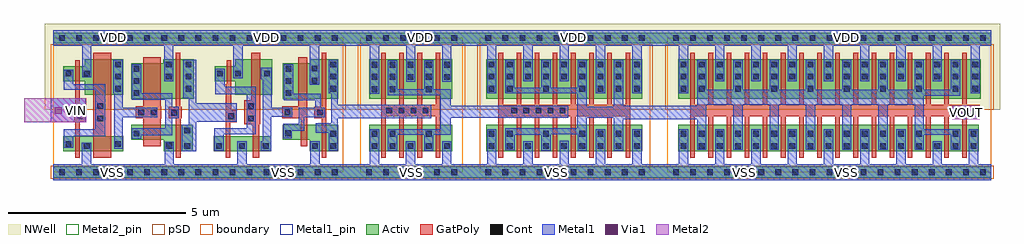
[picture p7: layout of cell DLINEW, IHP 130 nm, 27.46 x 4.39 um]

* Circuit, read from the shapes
.subckt DLINEW VDD VIN VOUT VSS
XM1 VSS VIN n1 VSS sg13_lv_nmos w=0.42u l=0.13u
XM2 n2 n1 VSS VSS sg13_lv_nmos w=0.42u l=0.5u
XM3 VSS n2 n3 VSS sg13_lv_nmos w=0.42u l=0.5u
XM4 n4 n3 VSS VSS sg13_lv_nmos w=0.74u l=0.13u
XM5 VSS n4 n5 VSS sg13_lv_nmos w=0.42u l=0.13u
XM6 n6 n5 VSS VSS sg13_lv_nmos w=0.42u l=0.18u
XM7 VSS n6 n7 VSS sg13_lv_nmos w=0.42u l=0.18u
XM8 n8 n7 VSS VSS sg13_lv_nmos w=0.74u l=0.13u
XM9 n9 n8 VSS VSS sg13_lv_nmos w=0.74u l=0.13u m=4
XM10 n10 n9 VSS VSS sg13_lv_nmos w=0.74u l=0.13u m=8
XM11 n10 VOUT VSS VSS sg13_lv_nmos w=0.74u l=0.13u m=16
XM12 VDD VIN n1 VDD sg13_lv_pmos w=0.42u l=0.13u
XM13 n2 n1 VDD VDD sg13_lv_pmos w=1u l=0.5u
XM14 VDD n2 n3 VDD sg13_lv_pmos w=1u l=0.5u
XM15 n4 n3 VDD VDD sg13_lv_pmos w=1.12u l=0.13u
XM16 VDD n4 n5 VDD sg13_lv_pmos w=0.42u l=0.13u
XM17 n6 n5 VDD VDD sg13_lv_pmos w=1u l=0.25u
XM18 VDD n6 n7 VDD sg13_lv_pmos w=1u l=0.25u
XM19 n8 n7 VDD VDD sg13_lv_pmos w=1.12u l=0.13u
XM20 n9 n8 VDD VDD sg13_lv_pmos w=1.12u l=0.13u m=4
XM21 n10 n9 VDD VDD sg13_lv_pmos w=1.12u l=0.13u m=8
XM22 n10 VOUT VDD VDD sg13_lv_pmos w=1.12u l=0.13u m=16
.ends

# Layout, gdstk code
import gdstk
lib = gdstk.Library(unit=1e-6, precision=1e-09)
def R(c, l, rs):  # rectangles x0, y0, x1, y1
    for r in rs: c.add(gdstk.rectangle(r[:2], r[2:], *l))
def A(c, l, x, y, w, h, nx, ny, dx, dy):  # array of equal rectangles
    R(c, l, [(x+i*dx, y+j*dy, x+i*dx+w, y+j*dy+h) for i in range(nx) for j in range(ny)])
def P(c, l, *ps):  # polygons
    for p in ps: c.add(gdstk.Polygon(p, *l))
Activ = (1, 0)
GatPoly = (5, 0)
Cont = (6, 0)
Metal1 = (8, 0)
Metal1_pin = (8, 2)
Metal2 = (10, 0)
Metal2_pin = (10, 2)
pSD = (14, 0)
Via1 = (19, 0)
NWell = (31, 0)
boundary = (189, 4)

dlinew = lib.new_cell('DLINEW')
R(dlinew, Activ, [(0.825,0.07,5.145,0.37), (4.665,0.07,5.145,0.37), (5.145,0.07,8.985,0.37), (8.985,0.07,9.465,0.37), (9.465,0.07,12.345,0.37), (12.345,0.07,12.825,0.37), (12.825,0.07,17.625,0.37), (17.625,0.07,18.105,0.37), (18.105,0.07,27.225,0.37), (1.105,0.81,2.795,1.23), (5.335,0.81,6.955,1.23), (9.71,0.81,12.05,1.55), (13.01,0.81,17.4,1.55), (18.41,0.81,26.87,1.55), (9.71,2.28,12.05,3.4), (13.01,2.28,17.4,3.4), (18.41,2.28,26.92,3.4), (0.825,3.85,5.145,4.15), (4.665,3.85,5.145,4.15), (5.145,3.85,8.985,4.15), (8.985,3.85,9.465,4.15), (9.465,3.85,12.345,4.15), (12.345,3.85,12.825,4.15), (12.825,3.85,17.625,4.15), (17.625,3.85,18.105,4.15), (18.105,3.85,27.225,4.15)])
P(dlinew, Activ, [(3.015,2.28),(3.015,3.28),(3.925,3.28),(3.925,3.4),(4.775,3.4),(4.775,2.28)],
  [(3.935,0.81),(3.935,1.13),(3.015,1.13),(3.015,1.55),(4.745,1.55),(4.745,0.81)],
  [(1.705,2.4),(1.705,2.775),(1.105,2.775),(1.105,3.195),(1.705,3.195),(1.705,3.4),(2.795,3.4),(2.795,2.4)],
  [(8.04,0.81),(8.04,1.13),(7.275,1.13),(7.275,1.55),(8.85,1.55),(8.85,0.81)],
  [(7.275,2.28),(7.275,3.28),(8.055,3.28),(8.055,3.4),(8.85,3.4),(8.85,2.28)],
  [(5.945,2.4),(5.945,2.775),(5.365,2.775),(5.365,3.195),(5.945,3.195),(5.945,3.4),(6.985,3.4),(6.985,2.4)])
R(dlinew, GatPoly, [(1.955,0.63,2.455,3.58), (26.53,1.79,26.89,2.12)])
P(dlinew, GatPoly, [(13.35,0.63),(13.35,3.58),(13.48,3.58),(13.48,2.12),(13.86,2.12),(13.86,3.58),(13.99,3.58),(13.99,2.12),(14.37,2.12),(14.37,3.58),(14.5,3.58),(14.5,2.12),(14.88,2.12),(14.88,3.58),(15.01,3.58),(15.01,2.12),(15.39,2.12),(15.39,3.58),(15.52,3.58),(15.52,2.12),(15.9,2.12),(15.9,3.58),(16.03,3.58),(16.03,2.12),(16.41,2.12),(16.41,3.58),(16.54,3.58),(16.54,2.12),(16.93,2.12),(16.93,3.58),(17.06,3.58),(17.06,0.63),(16.93,0.63),(16.93,1.79),(16.54,1.79),(16.54,0.63),(16.41,0.63),(16.41,1.79),(16.03,1.79),(16.03,0.63),(15.9,0.63),(15.9,1.79),(15.52,1.79),(15.52,0.63),(15.39,0.63),(15.39,1.79),(15.01,1.79),(15.01,0.63),(14.88,0.63),(14.88,1.79),(14.5,1.79),(14.5,0.63),(14.37,0.63),(14.37,1.79),(13.99,1.79),(13.99,0.63),(13.86,0.63),(13.86,1.79),(13.48,1.79),(13.48,0.63)],
  [(1.445,0.63),(1.445,1.63),(1.415,1.63),(1.415,1.96),(1.445,1.96),(1.445,3.375),(1.575,3.375),(1.575,1.96),(1.745,1.96),(1.745,1.63),(1.575,1.63),(1.575,0.63)],
  [(4.275,0.63),(4.275,1.735),(4.07,1.735),(4.07,2.065),(4.265,2.065),(4.265,3.58),(4.395,3.58),(4.395,2.065),(4.435,2.065),(4.435,1.735),(4.405,1.735),(4.405,0.63)],
  [(3.355,0.95),(3.355,1.74),(3.14,1.74),(3.14,2.07),(3.355,2.07),(3.355,3.46),(3.855,3.46),(3.855,2.07),(3.86,2.07),(3.86,1.74),(3.855,1.74),(3.855,0.95)],
  [(18.75,0.63),(18.75,3.58),(18.88,3.58),(18.88,2.12),(19.26,2.12),(19.26,3.58),(19.39,3.58),(19.39,2.12),(19.77,2.12),(19.77,3.58),(19.9,3.58),(19.9,2.12),(20.28,2.12),(20.28,3.58),(20.41,3.58),(20.41,2.12),(20.79,2.12),(20.79,3.58),(20.92,3.58),(20.92,2.12),(21.3,2.12),(21.3,3.58),(21.43,3.58),(21.43,2.12),(21.81,2.12),(21.81,3.58),(21.94,3.58),(21.94,2.12),(22.32,2.12),(22.32,3.58),(22.45,3.58),(22.45,2.12),(22.83,2.12),(22.83,3.58),(22.96,3.58),(22.96,2.12),(23.34,2.12),(23.34,3.58),(23.47,3.58),(23.47,2.12),(23.85,2.12),(23.85,3.58),(23.98,3.58),(23.98,2.12),(24.36,2.12),(24.36,3.58),(24.49,3.58),(24.49,2.12),(24.87,2.12),(24.87,3.58),(25,3.58),(25,2.12),(25.38,2.12),(25.38,3.58),(25.51,3.58),(25.51,2.12),(25.89,2.12),(25.89,3.58),(26.02,3.58),(26.02,2.12),(26.4,2.12),(26.4,3.58),(26.53,3.58),(26.53,0.63),(26.4,0.63),(26.4,1.79),(26.02,1.79),(26.02,0.63),(25.89,0.63),(25.89,1.79),(25.51,1.79),(25.51,0.63),(25.38,0.63),(25.38,1.79),(25,1.79),(25,0.63),(24.87,0.63),(24.87,1.79),(24.49,1.79),(24.49,0.63),(24.36,0.63),(24.36,1.79),(23.98,1.79),(23.98,0.63),(23.85,0.63),(23.85,1.79),(23.47,1.79),(23.47,0.63),(23.34,0.63),(23.34,1.79),(22.96,1.79),(22.96,0.63),(22.83,0.63),(22.83,1.79),(22.45,1.79),(22.45,0.63),(22.32,0.63),(22.32,1.79),(21.94,1.79),(21.94,0.63),(21.81,0.63),(21.81,1.79),(21.43,1.79),(21.43,0.63),(21.3,0.63),(21.3,1.79),(20.92,1.79),(20.92,0.63),(20.79,0.63),(20.79,1.79),(20.41,1.79),(20.41,0.63),(20.28,0.63),(20.28,1.79),(19.9,1.79),(19.9,0.63),(19.77,0.63),(19.77,1.79),(19.39,1.79),(19.39,0.63),(19.26,0.63),(19.26,1.79),(18.88,1.79),(18.88,0.63)],
  [(7.79,0.95),(7.79,1.74),(7.265,1.74),(7.265,2.07),(7.72,2.07),(7.72,3.46),(7.97,3.46),(7.97,0.95)],
  [(5.675,0.63),(5.675,2.7),(5.705,2.7),(5.705,3.375),(5.835,3.375),(5.835,1.96),(5.985,1.96),(5.985,1.63),(5.805,1.63),(5.805,0.63)],
  [(6.435,0.63),(6.435,1.57),(6.195,1.57),(6.195,2.24),(6.395,2.24),(6.395,3.58),(6.645,3.58),(6.645,1.57),(6.615,1.57),(6.615,0.63)],
  [(8.38,0.63),(8.38,1.735),(8.165,1.735),(8.165,2.065),(8.38,2.065),(8.38,3.58),(8.51,3.58),(8.51,0.63)],
  [(10.05,0.63),(10.05,3.58),(10.18,3.58),(10.18,2.12),(10.56,2.12),(10.56,3.58),(10.69,3.58),(10.69,2.12),(11.07,2.12),(11.07,3.58),(11.2,3.58),(11.2,2.12),(11.58,2.12),(11.58,3.58),(11.71,3.58),(11.71,0.63),(11.58,0.63),(11.58,1.79),(11.2,1.79),(11.2,0.63),(11.07,0.63),(11.07,1.79),(10.69,1.79),(10.69,0.63),(10.56,0.63),(10.56,1.79),(10.18,1.79),(10.18,0.63)])
A(dlinew, Cont, 4.825, 0.14, 0.16, 0.16, 9, 2, 0.48, 3.78)
A(dlinew, Cont, 9.78, 0.88, 0.16, 0.16, 5, 2, 0.51, 2.285)
A(dlinew, Cont, 13.08, 0.88, 0.16, 0.16, 8, 2, 0.51, 1.95)
A(dlinew, Cont, 18.48, 0.88, 0.16, 0.16, 17, 1, 0.51, 0)
A(dlinew, Cont, 13.59, 1.22, 0.16, 0.16, 3, 2, 1.02, 1.27)
A(dlinew, Cont, 18.48, 1.22, 0.16, 0.16, 14, 1, 0.51, 0)
A(dlinew, Cont, 10.2, 1.875, 0.16, 0.16, 4, 1, 0.34, 0)
A(dlinew, Cont, 13.715, 1.875, 0.16, 0.16, 5, 1, 0.34, 0)
A(dlinew, Cont, 3.085, 2.37, 0.16, 0.16, 1, 3, 0, 0.34)
A(dlinew, Cont, 7.36, 2.37, 0.16, 0.16, 1, 3, 0, 0.34)
A(dlinew, Cont, 2.565, 2.49, 0.16, 0.16, 1, 3, 0, 0.34)
A(dlinew, Cont, 4.545, 2.49, 0.16, 0.16, 1, 3, 0, 0.34)
A(dlinew, Cont, 8.62, 2.49, 0.16, 0.16, 1, 3, 0, 0.34)
A(dlinew, Cont, 17.17, 2.49, 0.16, 0.16, 1, 3, 0, 0.34)
A(dlinew, Cont, 18.99, 2.49, 0.16, 0.16, 8, 1, 1.02, 0)
A(dlinew, Cont, 26.69, 2.49, 0.16, 0.16, 1, 3, 0, 0.34)
A(dlinew, Cont, 18.48, 2.83, 0.16, 0.16, 16, 2, 0.51, 0.34)
A(dlinew, Cont, 13.08, 3.17, 0.16, 0.16, 8, 1, 0.51, 0)
R(dlinew, Cont, [(0.985,0.14,1.145,0.3), (0.985,0.14,1.145,0.3), (1.465,0.14,1.625,0.3), (1.465,0.14,1.625,0.3), (1.945,0.14,2.105,0.3), (1.945,0.14,2.105,0.3), (2.425,0.14,2.585,0.3), (2.425,0.14,2.585,0.3), (2.905,0.14,3.065,0.3), (2.905,0.14,3.065,0.3), (3.385,0.14,3.545,0.3), (3.385,0.14,3.545,0.3), (3.865,0.14,4.025,0.3), (3.865,0.14,4.025,0.3), (4.345,0.14,4.505,0.3), (4.345,0.14,4.505,0.3), (4.825,0.14,4.985,0.3), (9.625,0.14,9.785,0.3), (9.625,0.14,9.785,0.3), (10.105,0.14,10.265,0.3), (10.105,0.14,10.265,0.3), (10.585,0.14,10.745,0.3), (10.585,0.14,10.745,0.3), (11.065,0.14,11.225,0.3), (11.065,0.14,11.225,0.3), (11.545,0.14,11.705,0.3), (11.545,0.14,11.705,0.3), (12.025,0.14,12.185,0.3), (12.025,0.14,12.185,0.3), (12.985,0.14,13.145,0.3), (12.985,0.14,13.145,0.3), (13.465,0.14,13.625,0.3), (13.465,0.14,13.625,0.3), (13.945,0.14,14.105,0.3), (13.945,0.14,14.105,0.3), (14.425,0.14,14.585,0.3), (14.425,0.14,14.585,0.3), (14.905,0.14,15.065,0.3), (14.905,0.14,15.065,0.3), (15.385,0.14,15.545,0.3), (15.385,0.14,15.545,0.3), (15.865,0.14,16.025,0.3), (15.865,0.14,16.025,0.3), (16.345,0.14,16.505,0.3), (16.345,0.14,16.505,0.3), (16.825,0.14,16.985,0.3), (16.825,0.14,16.985,0.3), (17.305,0.14,17.465,0.3), (17.305,0.14,17.465,0.3), (18.265,0.14,18.425,0.3), (18.265,0.14,18.425,0.3), (18.745,0.14,18.905,0.3), (18.745,0.14,18.905,0.3), (19.225,0.14,19.385,0.3), (19.225,0.14,19.385,0.3), (19.705,0.14,19.865,0.3), (19.705,0.14,19.865,0.3), (20.185,0.14,20.345,0.3), (20.185,0.14,20.345,0.3), (20.665,0.14,20.825,0.3), (20.665,0.14,20.825,0.3), (21.145,0.14,21.305,0.3), (21.145,0.14,21.305,0.3), (21.625,0.14,21.785,0.3), (21.625,0.14,21.785,0.3), (22.105,0.14,22.265,0.3), (22.105,0.14,22.265,0.3), (22.585,0.14,22.745,0.3), (22.585,0.14,22.745,0.3), (23.065,0.14,23.225,0.3), (23.065,0.14,23.225,0.3), (23.545,0.14,23.705,0.3), (23.545,0.14,23.705,0.3), (24.025,0.14,24.185,0.3), (24.025,0.14,24.185,0.3), (24.505,0.14,24.665,0.3), (24.505,0.14,24.665,0.3), (24.985,0.14,25.145,0.3), (24.985,0.14,25.145,0.3), (25.465,0.14,25.625,0.3), (25.465,0.14,25.625,0.3), (25.945,0.14,26.105,0.3), (25.945,0.14,26.105,0.3), (26.425,0.14,26.585,0.3), (26.425,0.14,26.585,0.3), (26.905,0.14,27.065,0.3), (26.905,0.14,27.065,0.3), (1.685,0.88,1.845,1.04), (4.515,0.88,4.675,1.04), (5.405,0.88,5.565,1.04), (6.055,0.88,6.215,1.04), (6.725,0.88,6.885,1.04), (8.11,0.88,8.27,1.04), (8.62,0.88,8.78,1.04), (17.17,0.88,17.33,1.04), (4.005,0.885,4.165,1.045), (1.175,0.935,1.335,1.095), (2.565,0.935,2.725,1.095), (8.62,1.22,8.78,1.38), (9.78,1.22,9.94,1.38), (10.29,1.22,10.45,1.38), (11.31,1.22,11.47,1.38), (13.08,1.22,13.24,1.38), (16.14,1.22,16.3,1.38), (16.65,1.22,16.81,1.38), (17.17,1.22,17.33,1.38), (26.13,1.22,26.29,1.38), (26.64,1.22,26.8,1.38), (3.085,1.23,3.245,1.39), (7.345,1.235,7.505,1.395), (4.515,1.31,4.675,1.47), (2.065,1.65,2.225,1.81), (6.31,1.655,6.47,1.815), (1.495,1.71,1.655,1.87), (5.75,1.715,5.91,1.875), (4.15,1.815,4.31,1.975), (3.22,1.82,3.38,1.98), (3.56,1.82,3.72,1.98), (8.25,1.82,8.41,1.98), (7.335,1.825,7.495,1.985), (26.3,1.87,26.46,2.03), (26.64,1.87,26.8,2.03), (6.31,1.995,6.47,2.155), (2.065,2.005,2.225,2.165), (9.78,2.475,9.94,2.635), (10.29,2.475,10.45,2.635), (11.31,2.475,11.47,2.635), (13.08,2.49,13.24,2.65), (16.14,2.49,16.3,2.65), (16.65,2.49,16.81,2.65), (18.48,2.49,18.64,2.65), (8.095,2.715,8.255,2.875), (10.8,2.815,10.96,2.975), (11.82,2.815,11.98,2.975), (9.78,2.825,9.94,2.985), (10.29,2.825,10.45,2.985), (11.31,2.825,11.47,2.985), (3.995,2.83,4.155,2.99), (1.175,2.915,1.335,3.075), (1.685,2.915,1.845,3.075), (5.435,2.92,5.595,3.08), (5.945,2.92,6.105,3.08), (6.755,2.92,6.915,3.08), (8.095,3.055,8.255,3.215), (3.995,3.17,4.155,3.33), (0.985,3.92,1.145,4.08), (0.985,3.92,1.145,4.08), (1.465,3.92,1.625,4.08), (1.465,3.92,1.625,4.08), (1.945,3.92,2.105,4.08), (1.945,3.92,2.105,4.08), (2.425,3.92,2.585,4.08), (2.425,3.92,2.585,4.08), (2.905,3.92,3.065,4.08), (2.905,3.92,3.065,4.08), (3.385,3.92,3.545,4.08), (3.385,3.92,3.545,4.08), (3.865,3.92,4.025,4.08), (3.865,3.92,4.025,4.08), (4.345,3.92,4.505,4.08), (4.345,3.92,4.505,4.08), (4.825,3.92,4.985,4.08), (9.625,3.92,9.785,4.08), (9.625,3.92,9.785,4.08), (10.105,3.92,10.265,4.08), (10.105,3.92,10.265,4.08), (10.585,3.92,10.745,4.08), (10.585,3.92,10.745,4.08), (11.065,3.92,11.225,4.08), (11.065,3.92,11.225,4.08), (11.545,3.92,11.705,4.08), (11.545,3.92,11.705,4.08), (12.025,3.92,12.185,4.08), (12.025,3.92,12.185,4.08), (12.985,3.92,13.145,4.08), (12.985,3.92,13.145,4.08), (13.465,3.92,13.625,4.08), (13.465,3.92,13.625,4.08), (13.945,3.92,14.105,4.08), (13.945,3.92,14.105,4.08), (14.425,3.92,14.585,4.08), (14.425,3.92,14.585,4.08), (14.905,3.92,15.065,4.08), (14.905,3.92,15.065,4.08), (15.385,3.92,15.545,4.08), (15.385,3.92,15.545,4.08), (15.865,3.92,16.025,4.08), (15.865,3.92,16.025,4.08), (16.345,3.92,16.505,4.08), (16.345,3.92,16.505,4.08), (16.825,3.92,16.985,4.08), (16.825,3.92,16.985,4.08), (17.305,3.92,17.465,4.08), (17.305,3.92,17.465,4.08), (18.265,3.92,18.425,4.08), (18.265,3.92,18.425,4.08), (18.745,3.92,18.905,4.08), (18.745,3.92,18.905,4.08), (19.225,3.92,19.385,4.08), (19.225,3.92,19.385,4.08), (19.705,3.92,19.865,4.08), (19.705,3.92,19.865,4.08), (20.185,3.92,20.345,4.08), (20.185,3.92,20.345,4.08), (20.665,3.92,20.825,4.08), (20.665,3.92,20.825,4.08), (21.145,3.92,21.305,4.08), (21.145,3.92,21.305,4.08), (21.625,3.92,21.785,4.08), (21.625,3.92,21.785,4.08), (22.105,3.92,22.265,4.08), (22.105,3.92,22.265,4.08), (22.585,3.92,22.745,4.08), (22.585,3.92,22.745,4.08), (23.065,3.92,23.225,4.08), (23.065,3.92,23.225,4.08), (23.545,3.92,23.705,4.08), (23.545,3.92,23.705,4.08), (24.025,3.92,24.185,4.08), (24.025,3.92,24.185,4.08), (24.505,3.92,24.665,4.08), (24.505,3.92,24.665,4.08), (24.985,3.92,25.145,4.08), (24.985,3.92,25.145,4.08), (25.465,3.92,25.625,4.08), (25.465,3.92,25.625,4.08), (25.945,3.92,26.105,4.08), (25.945,3.92,26.105,4.08), (26.425,3.92,26.585,4.08), (26.425,3.92,26.585,4.08), (26.905,3.92,27.065,4.08), (26.905,3.92,27.065,4.08)])
R(dlinew, Metal1, [(0.825,0,27.225,0.44), (4.665,0,5.145,0.44), (8.985,0,9.465,0.44), (12.345,0,12.825,0.44), (17.625,0,18.105,0.44), (0.755,1.63,1.74,2.3), (1.11,1.63,1.74,2.3), (4.63,1.645,5.35,2.165), (5.35,1.645,5.98,2.165), (16.86,1.71,19.2,2.09), (26.13,1.71,26.89,2.09), (26.13,1.71,26.89,2.09), (8.64,1.74,9.945,2.12), (9.945,1.74,11.465,2.12), (15.565,1.75,19.2,2.06), (11.975,1.755,13.63,2.085), (13.63,1.755,15.32,2.085), (4.665,3.78,5.145,4.22), (4.665,3.78,27.225,4.22), (8.985,3.78,9.465,4.22), (12.345,3.78,12.825,4.22), (17.625,3.78,18.105,4.22)])
P(dlinew, Metal1, [(12.825,0),(12.825,0.44),(13.03,0.44),(13.03,1.43),(13.29,1.43),(13.29,0.44),(14.05,0.44),(14.05,1.09),(14.31,1.09),(14.31,0.44),(15.07,0.44),(15.07,1.11),(15.33,1.11),(15.33,0.44),(16.09,0.44),(16.09,1.43),(16.35,1.43),(16.35,0.44),(17.12,0.44),(17.12,1.43),(17.38,1.43),(17.38,0.44),(17.625,0.44),(17.625,0)],
  [(13.03,2.44),(13.03,3.78),(12.825,3.78),(12.825,4.22),(17.625,4.22),(17.625,3.78),(17.38,3.78),(17.38,2.44),(17.12,2.44),(17.12,3.78),(16.35,3.78),(16.35,2.44),(16.09,2.44),(16.09,3.78),(15.33,3.78),(15.33,2.78),(15.07,2.78),(15.07,3.78),(14.31,3.78),(14.31,2.78),(14.05,2.78),(14.05,3.78),(13.29,3.78),(13.29,2.44)],
  [(14.56,0.83),(14.56,1.27),(13.805,1.27),(13.805,0.84),(13.54,0.84),(13.54,1.45),(15.565,1.45),(15.565,2.44),(13.54,2.44),(13.54,3.38),(13.8,3.38),(13.8,2.6),(14.56,2.6),(14.56,3.38),(14.82,3.38),(14.82,2.6),(15.58,2.6),(15.58,3.38),(15.84,3.38),(15.84,2.06),(16.6,2.06),(16.6,3.38),(16.86,3.38),(16.86,0.83),(16.6,0.83),(16.6,1.75),(15.84,1.75),(15.84,0.83),(15.58,0.83),(15.58,1.29),(14.825,1.29),(14.825,0.83)],
  [(10.24,0.83),(10.24,1.43),(11.71,1.43),(11.71,2.39),(10.24,2.39),(10.24,3.375),(10.5,3.375),(10.5,2.56),(11.26,2.56),(11.26,3.375),(11.52,3.375),(11.52,2.56),(12.005,2.56),(12.005,1.27),(11.52,1.27),(11.52,0.83),(11.26,0.83),(11.26,1.27),(10.5,1.27),(10.5,0.83)],
  [(9.73,2.425),(9.73,3.78),(9.465,3.78),(9.465,4.22),(12.345,4.22),(12.345,3.78),(12.03,3.78),(12.03,2.765),(11.77,2.765),(11.77,3.78),(11.01,3.78),(11.01,2.765),(10.75,2.765),(10.75,3.78),(9.99,3.78),(9.99,2.425)],
  [(9.465,0),(9.465,0.44),(9.73,0.44),(9.73,1.43),(9.99,1.43),(9.99,0.44),(10.745,0.44),(10.745,1.09),(11.015,1.09),(11.015,0.44),(11.77,0.44),(11.77,1.09),(12.03,1.09),(12.03,0.44),(12.345,0.44),(12.345,0)],
  [(18.105,0),(18.105,0.44),(18.43,0.44),(18.43,1.43),(18.69,1.43),(18.69,0.44),(19.45,0.44),(19.45,1.43),(19.71,1.43),(19.71,0.44),(20.47,0.44),(20.47,1.43),(20.73,1.43),(20.73,0.44),(21.49,0.44),(21.49,1.43),(21.75,1.43),(21.75,0.44),(22.51,0.44),(22.51,1.43),(22.77,1.43),(22.77,0.44),(23.53,0.44),(23.53,1.43),(23.79,1.43),(23.79,0.44),(24.55,0.44),(24.55,1.43),(24.81,1.43),(24.81,0.44),(25.57,0.44),(25.57,1.09),(25.83,1.09),(25.83,0.44),(26.59,0.44),(26.59,1.43),(26.85,1.43),(26.85,0.44),(27.225,0.44),(27.225,0)],
  [(18.43,2.44),(18.43,3.78),(18.105,3.78),(18.105,4.22),(27.225,4.22),(27.225,3.78),(26.9,3.78),(26.9,2.44),(26.64,2.44),(26.64,3.775),(25.83,3.775),(25.83,2.78),(25.57,2.78),(25.57,3.78),(24.81,3.78),(24.81,2.78),(24.55,2.78),(24.55,3.78),(23.79,3.78),(23.79,2.78),(23.53,2.78),(23.53,3.78),(22.77,3.78),(22.77,2.78),(22.51,2.78),(22.51,3.78),(21.75,3.78),(21.75,2.78),(21.49,2.78),(21.49,3.78),(20.73,3.78),(20.73,2.78),(20.47,2.78),(20.47,3.78),(19.71,3.78),(19.71,2.78),(19.45,2.78),(19.45,3.78),(18.69,3.78),(18.69,2.44)],
  [(20.98,0.845),(20.98,2.12),(20.22,2.12),(20.22,0.85),(19.96,0.85),(19.96,2.12),(19.2,2.12),(19.2,0.85),(18.94,0.85),(18.94,3.38),(19.2,3.38),(19.2,2.54),(19.96,2.54),(19.96,3.38),(20.22,3.38),(20.22,2.54),(20.98,2.54),(20.98,3.38),(21.24,3.38),(21.24,2.54),(22,2.54),(22,3.38),(22.26,3.38),(22.26,2.54),(23.02,2.54),(23.02,3.38),(23.28,3.38),(23.28,2.54),(24.04,2.54),(24.04,3.38),(24.3,3.38),(24.3,2.54),(25.06,2.54),(25.06,3.38),(25.32,3.38),(25.32,2.54),(26.08,2.54),(26.08,3.38),(26.34,3.38),(26.34,2.365),(25.32,2.365),(25.32,1.43),(26.34,1.43),(26.34,0.845),(26.08,0.845),(26.08,1.27),(25.32,1.27),(25.32,0.845),(25.06,0.845),(25.06,2.12),(24.3,2.12),(24.3,0.845),(24.04,0.845),(24.04,2.12),(23.28,2.12),(23.28,0.845),(23.02,0.845),(23.02,2.12),(22.26,2.12),(22.26,0.845),(22,0.845),(22,2.12),(21.24,2.12),(21.24,0.845)],
  [(7.3,1.18),(7.3,1.58),(7.725,1.58),(7.725,2.03),(8.19,2.03),(8.19,2.25),(7.31,2.25),(7.31,3.26),(7.57,3.26),(7.57,2.425),(8.35,2.425),(8.35,2.03),(8.46,2.03),(8.46,1.77),(7.885,1.77),(7.885,1.38),(7.54,1.38),(7.54,1.18)],
  [(6.665,0.83),(6.665,1.09),(6.725,1.09),(6.725,2.835),(6.665,2.835),(6.665,3.165),(6.97,3.165),(6.97,2.035),(7.545,2.035),(7.545,1.775),(6.955,1.775),(6.955,0.83)],
  [(5.355,0.83),(5.355,1.46),(6.265,1.46),(6.265,2.415),(5.385,2.415),(5.385,3.13),(5.645,3.13),(5.645,2.62),(6.52,2.62),(6.52,1.285),(5.625,1.285),(5.625,0.83)],
  [(8.57,0.83),(8.57,1.335),(8.21,1.335),(8.21,1.59),(8.64,1.59),(8.64,2.44),(8.575,2.44),(8.575,3.38),(8.83,3.38),(8.83,0.83)],
  [(8.045,2.675),(8.045,3.78),(6.155,3.78),(6.155,2.87),(5.89,2.87),(5.89,3.78),(5.145,3.78),(5.145,4.22),(8.985,4.22),(8.985,3.78),(8.305,3.78),(8.305,2.675)],
  [(5.145,0),(5.145,0.44),(6.005,0.44),(6.005,1.09),(6.265,1.09),(6.265,0.44),(8.06,0.44),(8.06,1.09),(8.32,1.09),(8.32,0.44),(8.985,0.44),(8.985,0)],
  [(4.435,0.815),(4.435,1.56),(4.63,1.56),(4.63,2.295),(4.48,2.295),(4.48,3.39),(4.845,3.39),(4.845,0.815)],
  [(0.825,0),(0.825,0.44),(1.625,0.44),(1.625,1.055),(1.895,1.055),(1.895,0.44),(3.955,0.44),(3.955,1.07),(4.215,1.07),(4.215,0.44),(5.145,0.44),(5.145,0)],
  [(3.945,2.78),(3.945,3.78),(1.895,3.78),(1.895,2.885),(1.635,2.885),(1.635,3.78),(0.825,3.78),(0.825,4.22),(5.145,4.22),(5.145,3.78),(4.205,3.78),(4.205,2.78)],
  [(3.03,1.165),(3.03,1.455),(3.975,1.455),(3.975,2.265),(3.035,2.265),(3.035,3.26),(3.295,3.26),(3.295,2.435),(4.165,2.435),(4.165,2.065),(4.36,2.065),(4.36,1.735),(4.165,1.735),(4.165,1.265),(3.295,1.265),(3.295,1.165)],
  [(2.545,0.885),(2.545,2.44),(2.515,2.44),(2.515,3.38),(2.78,3.38),(2.78,2.03),(3.75,2.03),(3.75,1.77),(2.78,1.77),(2.78,0.885)],
  [(1.125,0.91),(1.125,1.425),(2,1.425),(2,2.54),(1.125,2.54),(1.125,3.1),(1.385,3.1),(1.385,2.7),(2.28,2.7),(2.28,1.235),(1.385,1.235),(1.385,0.91)])
R(dlinew, Metal1_pin, [(23.04,0.115,23.24,0.315), (2.4,0.12,2.6,0.32), (14.885,0.12,15.085,0.32), (20.165,0.12,20.365,0.32), (7.205,0.125,7.405,0.325), (10.8,0.125,11,0.325), (2.405,3.9,2.605,4.1), (11.045,3.9,11.245,4.1), (23.05,3.9,23.25,4.1), (6.725,3.905,6.925,4.105), (15.355,3.905,15.555,4.105)])
R(dlinew, Metal2, [(0,1.63,1.745,2.3), (26.125,1.71,26.89,2.09)])
R(dlinew, Metal2_pin, [(26.435,1.81,26.635,2.01), (1.37,1.855,1.57,2.055)])
R(dlinew, pSD, [(0.755,0.04,5.215,0.4), (4.735,0.04,5.075,0.4), (5.075,0.04,9.055,0.4), (9.055,0.04,9.395,0.4), (9.395,0.04,12.415,0.4), (12.415,0.04,12.755,0.4), (12.755,0.04,17.695,0.4), (17.695,0.04,18.04,0.4), (18.04,0.04,27.295,0.4), (0.755,1.98,5.215,3.82), (5.075,1.98,9.055,3.82), (9.395,1.98,12.415,3.82), (12.755,1.98,17.695,3.82), (18.04,1.98,27.295,3.82)])
R(dlinew, Via1, [(26.44,1.81,26.63,2), (0.87,1.86,1.06,2.05), (1.375,1.865,1.565,2.055)])
R(dlinew, NWell, [(0.585,1.97,5.385,4.39), (4.905,1.97,9.225,4.39), (9.225,1.97,12.585,4.39), (12.585,1.97,17.865,4.39), (17.865,1.97,27.465,4.39)])
R(dlinew, boundary, [(0.825,0.22,5.145,4), (5.145,0.22,8.985,4), (9.465,0.22,12.345,4), (12.825,0.22,17.625,4), (18.105,0.22,27.225,4)])
dlinew.add(gdstk.Label('VDD', (6.825,4.005), layer=8, texttype=25))
dlinew.add(gdstk.Label('VDD', (2.505,4), layer=8, texttype=25))
dlinew.add(gdstk.Label('VDD', (11.145,4), layer=8, texttype=25))
dlinew.add(gdstk.Label('VDD', (15.455,4.005), layer=8, texttype=25))
dlinew.add(gdstk.Label('VDD', (23.15,4), layer=8, texttype=25))
dlinew.add(gdstk.Label('VSS', (23.14,0.215), layer=8, texttype=25))
dlinew.add(gdstk.Label('VSS', (20.265,0.22), layer=8, texttype=25))
dlinew.add(gdstk.Label('VSS', (14.985,0.22), layer=8, texttype=25))
dlinew.add(gdstk.Label('VSS', (10.9,0.225), layer=8, texttype=25))
dlinew.add(gdstk.Label('VSS', (7.305,0.225), layer=8, texttype=25))
dlinew.add(gdstk.Label('VSS', (2.5,0.22), layer=8, texttype=25))
dlinew.add(gdstk.Label('VIN', (1.47,1.955), layer=10, texttype=25))
dlinew.add(gdstk.Label('VOUT', (26.535,1.91), layer=10, texttype=25))

lib.write_gds('DLINEW.gds')
